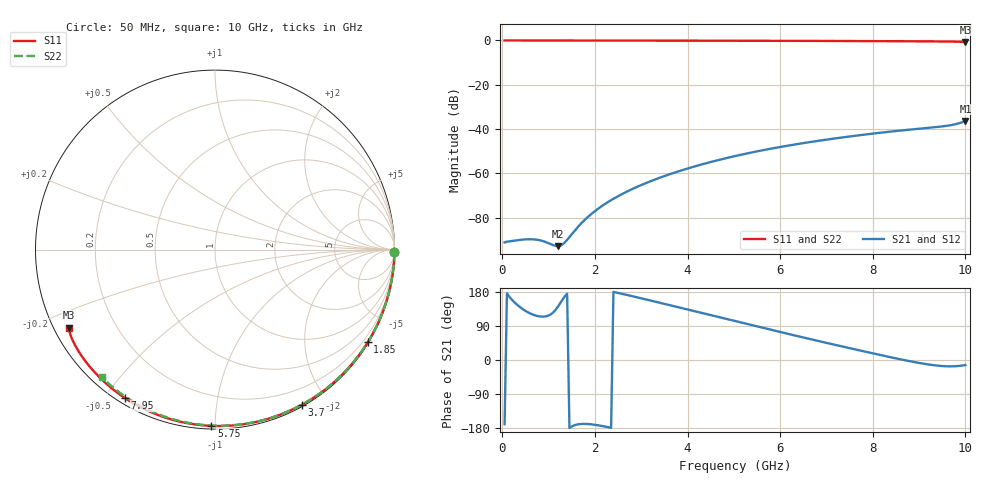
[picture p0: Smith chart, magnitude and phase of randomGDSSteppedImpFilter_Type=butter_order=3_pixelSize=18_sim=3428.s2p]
! freq	dB(S11)	phase(S11)	dB(S12)	phase(S12)
!  dB(S21)	phase(S21)	dB(S22)	phase(S22)
!S-par simulation data
#  GHz  S  DB  R 50
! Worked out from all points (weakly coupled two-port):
!   200 points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, 50 MHz to 10 GHz, reference 50 ohm
!   highest |S21| = -36.28 dB at 10 GHz (marker M1); lowest = -92.8 dB at 1.2 GHz (marker M2)
!   lowest |S11| = -0.7 dB at 10 GHz (marker M3), VSWR 25.15, Z = 2.11 - j12.5 ohm
!   |S11| at or under -10 dB: nowhere
!   |S22| runs from -0.4 to 0.0 dB; largest |S21 - S12| = 0
!   S11 on the Smith chart (normalised r, x): 50 MHz: open; 1.85 GHz: 0.03, -3.58; 3.7 GHz: 0.02, -1.70; 5.75 GHz: 0.02, -0.98; 7.95 GHz: 0.02, -0.56; 10 GHz: 0.04, -0.25
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0.05  -0.00 -0.9  -91.11 -169.4  -91.11 -169.4  -0.00 -0.8
0.6  -0.01 -10.3  -89.65 123.0  -89.65 123.0  -0.01 -9.1
1.2  -0.02 -20.4  -92.79 140.4  -92.79 140.4  -0.02 -18.1
1.75  -0.04 -29.6  -81.54 -168.5  -81.54 -168.5  -0.03 -26.3
1.8  -0.04 -30.4  -80.53 -168.6  -80.53 -168.6  -0.03 -27.0
1.85  -0.04 -31.2  -79.58 -168.9  -79.58 -168.9  -0.04 -27.7
2.15  -0.05 -36.2  -74.70 -174.0  -74.70 -174.0  -0.04 -32.1
2.5  -0.05 -41.9  -70.24 177.0  -70.24 177.0  -0.05 -37.2
2.9  -0.06 -48.3  -66.13 165.7  -66.13 165.7  -0.06 -42.9
3.4  -0.07 -56.2  -61.92 151.1  -61.92 151.1  -0.07 -50.0
3.7  -0.08 -60.8  -59.74 142.3  -59.74 142.3  -0.07 -54.2
4.35  -0.10 -70.7  -55.67 123.0  -55.67 123.0  -0.09 -63.0
5.05  -0.12 -81.1  -52.03 102.1  -52.03 102.1  -0.11 -72.3
5.75  -0.15 -91.1  -49.01 81.3  -49.01 81.3  -0.14 -81.4
6.7  -0.20 -104.4  -45.65 53.7  -45.65 53.7  -0.18 -93.2
7.3  -0.24 -112.5  -43.86 36.8  -43.86 36.8  -0.21 -100.5
7.95  -0.29 -121.3  -42.14 18.9  -42.14 18.9  -0.26 -108.2
8.35  -0.32 -126.7  -41.18 8.2  -41.18 8.2  -0.29 -112.9
9.05  -0.39 -136.2  -39.72 -8.8  -39.72 -8.8  -0.35 -120.9
9.6  -0.48 -144.4  -38.49 -16.7  -38.49 -16.7  -0.40 -127.2
9.85  -0.57 -148.8  -37.44 -15.8  -37.44 -15.8  -0.43 -130.0
10  -0.69 -152.0  -36.28 -13.2  -36.28 -13.2  -0.45 -131.7
